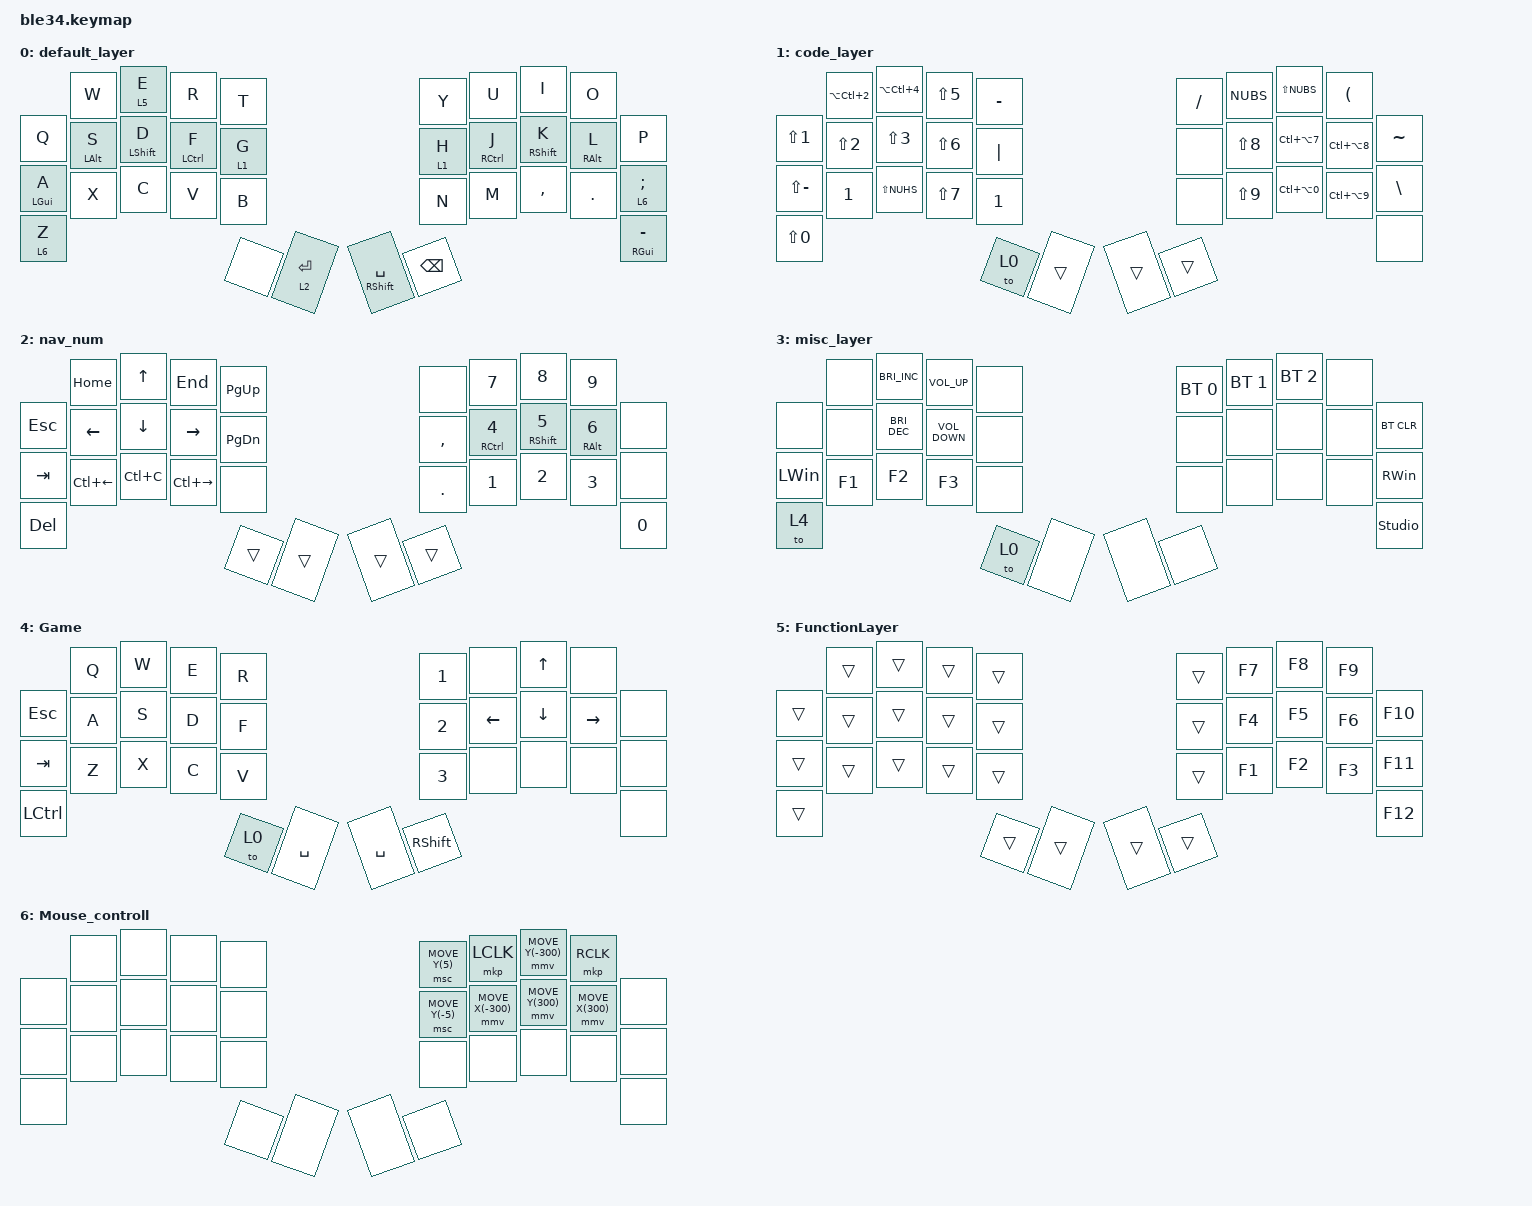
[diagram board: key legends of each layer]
#include <behaviors.dtsi>
#include <dt-bindings/zmk/bt.h>
#include <dt-bindings/zmk/keys.h>
#include <dt-bindings/zmk/pointing.h>

#define DEFAULT 0
#define CODE    1
#define MISC    2

/ {
    combos {
        compatible = "zmk,combos";

        Misc_Layer {
            bindings = <&to 3>;
            key-positions = <29 20>;
        };

        Norwegian_AE {
            bindings = <&kp SINGLE_QUOTE>;
            key-positions = <27 28>;
        };

        Norwegian_OA {
            bindings = <&kp LEFT_BRACKET>;
            key-positions = <21 22>;
        };

        SoftOff {
            bindings = <&soft_off>;
            key-positions = <9 19 29>;
        };

        Combo_F12 {
            bindings = <&kp F12>;
            key-positions = <6 7>;
            timeout-ms = <10>;
        };

        Combo_Alt_Left {
            bindings = <&kp LA(LEFT)>;
            key-positions = <7 8>;
            timeout-ms = <10>;
        };
    };

    behaviors {
        // uht: umlaut_hold_tap {
        //     compatible = "zmk,behavior-hold-tap";
        //     #binding-cells = <2>;
        //     flavor = "tap-preferred";
        //     tapping-term-ms = <200>;
        //     quick-tap-ms = <200>;
        //     bindings = <&kp>, <&kp>;
        // };

        mt_HR: mt_HR {
            compatible = "zmk,behavior-hold-tap";
            label = "MT_HR";
            bindings = <&kp>, <&kp>;

            #binding-cells = <2>;
            tapping-term-ms = <200>;
            flavor = "balanced";
        };

        lt_HR_L: lt_HR_L {
            compatible = "zmk,behavior-hold-tap";
            label = "LT_HR_L";
            bindings = <&mo>, <&kp>;

            #binding-cells = <2>;
            tapping-term-ms = <150>;
            flavor = "balanced";
            hold-trigger-key-positions = <23 22 21 20 24 6 7 8 9 16 17 18 19 26 27 28 29 5 15 25>;
        };

        lt_HR_R: lt_HR_R {
            compatible = "zmk,behavior-hold-tap";
            label = "LT_HR_R";
            bindings = <&mo>, <&kp>;

            #binding-cells = <2>;
            tapping-term-ms = <150>;
            flavor = "balanced";
            hold-trigger-key-positions = <23 24 0 1 2 3 4 10 11 12 13 14 23 24 20 21 22>;
        };

        left_win: left_win {
            compatible = "zmk,behavior-hold-tap";
            label = "LEFT_WIN";
            bindings = <&kp>, <&kp>;

            #binding-cells = <2>;
            tapping-term-ms = <250>;
            flavor = "tap-preferred";
        };
    };

    keymap {
        compatible = "zmk,keymap";

        default_layer {
            bindings = <
  &kp Q                 &kp W              &lt 5 E              &kp R           &kp T           &kp Y                     &kp U           &kp I                 &kp O               &kp P
  &left_win LEFT_GUI A  &mt_HR LEFT_ALT S  &mt_HR LEFT_SHIFT D  &mt_HR LCTRL F  &lt_HR_L 1 G    &lt_HR_R 1 H              &mt_HR RCTRL J  &mt_HR RIGHT_SHIFT K  &mt_HR RIGHT_ALT L  &lt 6 SEMI
  &lt 6 Z               &kp X              &kp C                &kp V           &kp B           &kp N                     &kp M           &kp COMMA             &kp DOT             &mt_HR RIGHT_GUI MINUS
                                                                &none           &lt 2 ENTER     &mt_HR RIGHT_SHIFT SPACE  &kp BACKSPACE
            >;
        };

        code_layer {
            bindings = <
  &kp LS(NUMBER_1)  &kp LA(LC(NUMBER_2))  &kp LA(LC(NUMBER_4))  &kp LS(N5)  &kp MINUS       &kp SLASH  &kp NUBS    &kp LS(NUBS)    &kp LPAR        &kp TILDE
  &kp LS(MINUS)     &kp LS(NUMBER_2)      &kp LS(NUMBER_3)      &kp LS(N6)  &kp PIPE        &none      &kp LS(N8)  &kp LC(LA(N7))  &kp LC(LA(N8))  &kp BSLH
  &kp LS(N0)        &kp N1                &kp LS(NUHS)          &kp LS(N7)  &kp NUMBER_1    &none      &kp LS(N9)  &kp LC(LA(N0))  &kp LC(LA(N9))  &none
                                                                &to 0       &trans          &trans     &trans
            >;
        };

        nav_num {
            bindings = <
  &kp ESCAPE  &kp HOME            &kp UP     &kp END        &kp PG_UP        &none      &kp N7                 &kp N8                 &kp N9               &none
  &kp TAB     &kp LEFT            &kp DOWN   &kp RIGHT      &kp PAGE_DOWN    &kp COMMA  &mt_HR RCTRL NUMBER_4  &mt_HR RIGHT_SHIFT N5  &mt_HR RIGHT_ALT N6  &none
  &kp DELETE  &kp LC(LEFT_ARROW)  &kp LC(C)  &kp LC(RIGHT)  &none            &kp DOT    &kp NUMBER_1           &kp NUMBER_2           &kp NUMBER_3         &kp N0
                                             &trans         &trans           &trans     &trans
            >;
        };

        misc_layer {
            bindings = <
  &none         &none   &kp C_BRIGHTNESS_INC  &kp C_VOLUME_UP    &none    &bt BT_SEL 0  &bt BT_SEL 1  &bt BT_SEL 2  &none  &bt BT_CLR
  &kp LEFT_WIN  &none   &kp C_BRIGHTNESS_DEC  &kp C_VOLUME_DOWN  &none    &none         &none         &none         &none  &kp RIGHT_WIN
  &to 4         &kp F1  &kp F2                &kp F3             &none    &none         &none         &none         &none  &studio_unlock
                                              &to 0              &none    &none         &none
            >;
        };

        Game {
            bindings = <
  &kp ESC    &kp Q  &kp W  &kp E  &kp R        &kp N1     &none      &kp UP_ARROW  &none      &none
  &kp TAB    &kp A  &kp S  &kp D  &kp F        &kp N2     &kp LEFT   &kp DOWN      &kp RIGHT  &none
  &kp LCTRL  &kp Z  &kp X  &kp C  &kp V        &kp N3     &none      &none         &none      &none
                           &to 0  &kp SPACE    &kp SPACE  &kp RSHFT
            >;
        };

        FunctionLayer {
            bindings = <
  &trans  &trans  &trans  &trans  &trans    &trans  &kp F7  &kp F8  &kp F9  &kp F10
  &trans  &trans  &trans  &trans  &trans    &trans  &kp F4  &kp F5  &kp F6  &kp F11
  &trans  &trans  &trans  &trans  &trans    &trans  &kp F1  &kp F2  &kp F3  &kp F12
                          &trans  &trans    &trans  &trans
            >;
        };

        Mouse_controll {
            bindings = <
  &none  &none  &none  &none  &none    &msc MOVE_Y(5)   &mkp LCLK          &mmv MOVE_Y(-300)  &mkp RCLK         &none
  &none  &none  &none  &none  &none    &msc MOVE_Y(-5)  &mmv MOVE_X(-300)  &mmv MOVE_Y(300)   &mmv MOVE_X(300)  &none
  &none  &none  &none  &none  &none    &none            &none              &none              &none             &none
                       &none  &none    &none            &none
            >;
        };
    };
};
